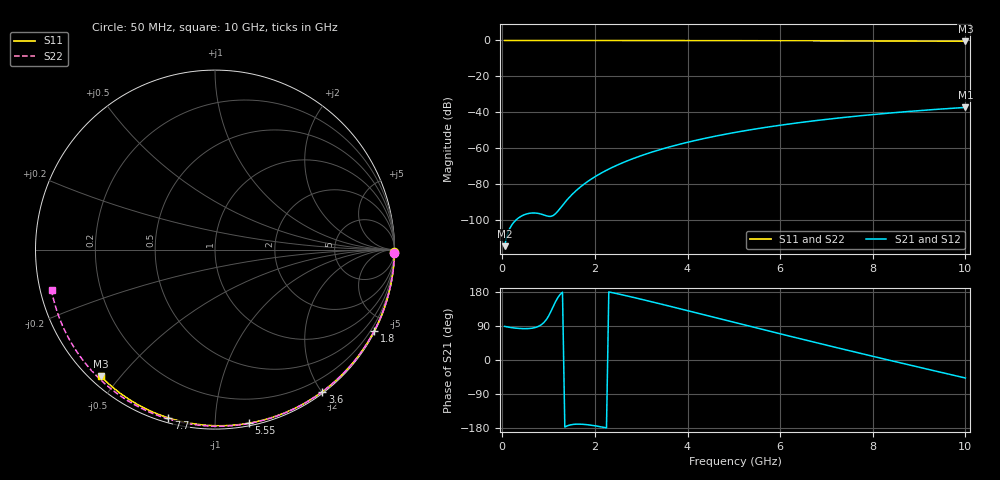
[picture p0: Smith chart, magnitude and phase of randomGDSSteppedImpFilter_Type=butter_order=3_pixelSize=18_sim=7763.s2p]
! freq	dB(S11)	phase(S11)	dB(S12)	phase(S12)
!  dB(S21)	phase(S21)	dB(S22)	phase(S22)
!S-par simulation data
#  GHz  S  DB  R 50
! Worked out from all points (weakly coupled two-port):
!   200 points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, 50 MHz to 10 GHz, reference 50 ohm
!   highest |S21| = -37.38 dB at 10 GHz (marker M1); lowest = -114.8 dB at 50 MHz (marker M2)
!   lowest |S11| = -0.4 dB at 10 GHz (marker M3), VSWR 39.08, Z = 1.53 - j22.3 ohm
!   |S11| at or under -10 dB: nowhere
!   |S22| runs from -0.6 to 0.0 dB; largest |S21 - S12| = 0
!   S11 on the Smith chart (normalised r, x): 50 MHz: open; 1.8 GHz: 0.04, -4.16; 3.6 GHz: 0.02, -2.01; 5.55 GHz: 0.02, -1.21; 7.7 GHz: 0.02, -0.76; 10 GHz: 0.03, -0.45
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0.05  -0.00 -0.8  -114.83 88.7  -114.83 88.7  -0.00 -1.0
0.45  -0.01 -6.9  -97.56 82.8  -97.56 82.8  -0.01 -8.6
0.85  -0.02 -12.9  -97.01 93.7  -97.01 93.7  -0.02 -16.2
1.3  -0.02 -19.6  -92.05 178.9  -92.05 178.9  -0.03 -24.7
1.75  -0.03 -26.3  -80.49 -169.8  -80.49 -169.8  -0.04 -33.1
1.8  -0.03 -27.0  -79.53 -170.3  -79.53 -170.3  -0.04 -34.0
1.95  -0.04 -29.2  -76.89 -172.6  -76.89 -172.6  -0.05 -36.7
2.1  -0.04 -31.4  -74.55 -175.6  -74.55 -175.6  -0.05 -39.5
2.3  -0.04 -34.4  -71.80 179.7  -71.80 179.7  -0.06 -43.1
2.5  -0.05 -37.3  -69.37 174.5  -69.37 174.5  -0.06 -46.7
2.9  -0.06 -43.0  -65.22 163.2  -65.22 163.2  -0.07 -53.9
3.4  -0.07 -50.1  -60.98 148.4  -60.98 148.4  -0.08 -62.6
3.6  -0.07 -52.9  -59.50 142.4  -59.50 142.4  -0.09 -66.1
4.3  -0.09 -62.5  -55.06 121.0  -55.06 121.0  -0.11 -77.9
5.05  -0.11 -72.5  -51.22 98.1  -51.22 98.1  -0.14 -90.2
5.55  -0.13 -79.0  -49.06 82.8  -49.06 82.8  -0.16 -98.1
6.1  -0.15 -86.0  -46.96 66.1  -46.96 66.1  -0.19 -106.7
6.7  -0.18 -93.4  -44.95 48.1  -44.95 48.1  -0.23 -115.9
7.7  -0.24 -105.5  -42.12 18.5  -42.12 18.5  -0.30 -131.0
8.35  -0.29 -113.1  -40.56 -0.4  -40.56 -0.4  -0.36 -140.8
9.2  -0.36 -122.9  -38.79 -24.8  -38.79 -24.8  -0.45 -153.6
10  -0.44 -132.0  -37.38 -47.5  -37.38 -47.5  -0.55 -166.1
